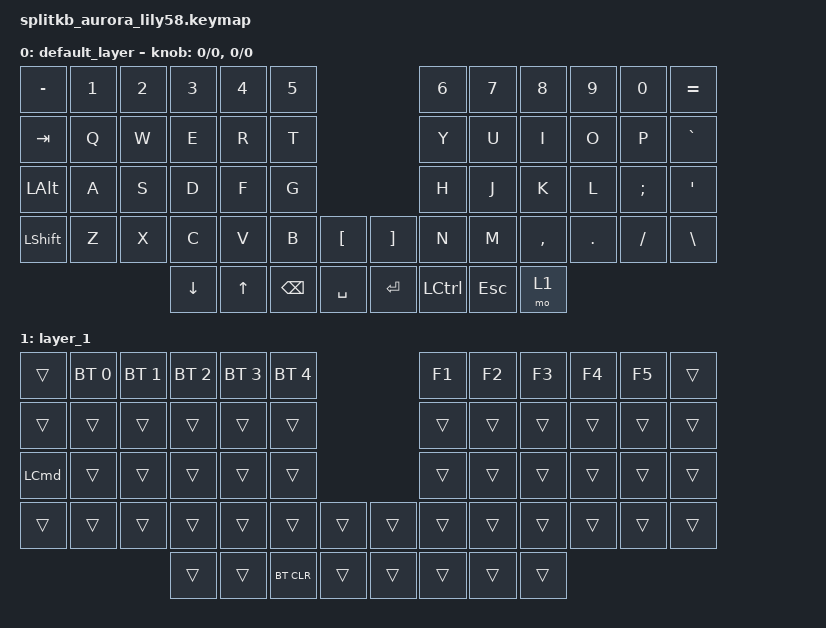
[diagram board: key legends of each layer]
/*
 * Copyright (c) 2022 The ZMK Contributors
 *
 * SPDX-License-Identifier: MIT
 */

#include <behaviors.dtsi>
#include <dt-bindings/zmk/bt.h>
#include <dt-bindings/zmk/keys.h>

/ {
    keymap {
        compatible = "zmk,keymap";

        default_layer {
            // ------------------------------------------------------------------------------------------------------------
            // |  ESC  |  1  |  2  |  3   |  4   |  5   |                   |  6   |  7    |  8    |  9   |   0   |   `   |
            // |  TAB  |  Q  |  W  |  E   |  R   |  T   |                   |  Y   |  U    |  I    |  O   |   P   |   -   |
            // |  CTRL |  A  |  S  |  D   |  F   |  G   |                   |  H   |  J    |  K    |  L   |   ;   |   '   |
            // | SHIFT |  Z  |  X  |  C   |  V   |  B   |   "["  |  |  "]"  |  N   |  M    |  ,    |  .   |   /   | SHIFT |
            //                     | ALT  | GUI  | LOWER|  SPACE |  | ENTER | RAISE| BSPC  | GUI   |

            bindings = <
&kp MINUS     &kp N1  &kp N2  &kp N3          &kp N4        &kp N5                              &kp N6            &kp N7      &kp N8     &kp N9   &kp N0    &kp EQUAL
&kp TAB       &kp Q   &kp W   &kp E           &kp R         &kp T                               &kp Y             &kp U       &kp I      &kp O    &kp P     &kp GRAVE
&kp LEFT_ALT  &kp A   &kp S   &kp D           &kp F         &kp G                               &kp H             &kp J       &kp K      &kp L    &kp SEMI  &kp SQT
&kp LSHFT     &kp Z   &kp X   &kp C           &kp V         &kp B          &kp LBKT   &kp RBKT  &kp N             &kp M       &kp COMMA  &kp DOT  &kp FSLH  &kp BACKSLASH
                              &kp DOWN_ARROW  &kp UP_ARROW  &kp BACKSPACE  &kp SPACE  &kp RET   &kp LEFT_CONTROL  &kp ESCAPE  &mo 1
            >;

            sensor-bindings = <&inc_dec_kp 0 0>, <&inc_dec_kp 0 0>;
        };

        layer_1 {
            bindings = <
&trans            &bt BT_SEL 0  &bt BT_SEL 1  &bt BT_SEL 2  &bt BT_SEL 3  &bt BT_SEL 4                  &kp F1  &kp F2  &kp F3  &kp F4  &kp F5  &trans
&trans            &trans        &trans        &trans        &trans        &trans                        &trans  &trans  &trans  &trans  &trans  &trans
&kp LEFT_COMMAND  &trans        &trans        &trans        &trans        &trans                        &trans  &trans  &trans  &trans  &trans  &trans
&trans            &trans        &trans        &trans        &trans        &trans        &trans  &trans  &trans  &trans  &trans  &trans  &trans  &trans
                                              &trans        &trans        &bt BT_CLR    &trans  &trans  &trans  &trans  &trans
            >;
        };
    };
};
